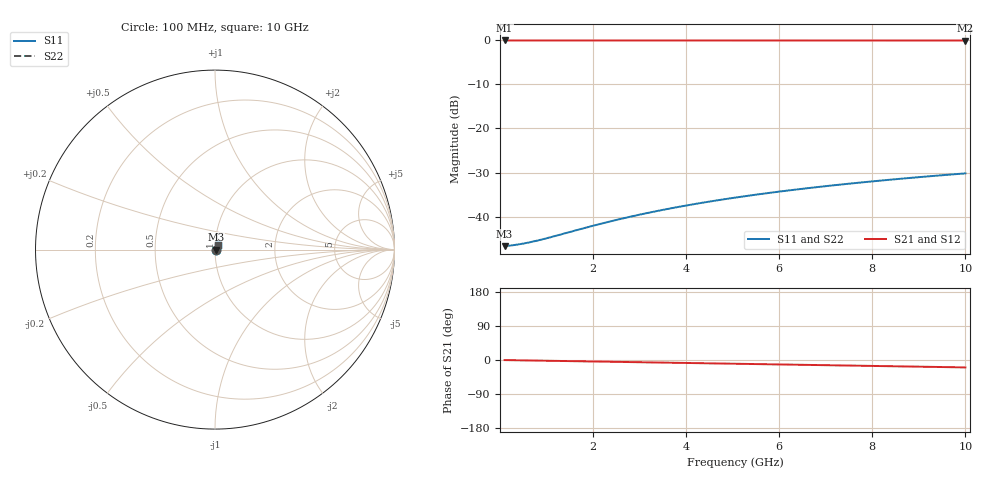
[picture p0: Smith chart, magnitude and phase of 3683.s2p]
# Hz S RI R 50.00
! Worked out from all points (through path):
!   100 points, 100 MHz to 10 GHz, reference 50 ohm
!   highest |S21| = -0.04 dB at 100 MHz (marker M1); lowest = -0.1 dB at 10 GHz (marker M2)
!   group delay of S21, straight-line fit = 5.43 ps
!   lowest |S11| = -46.7 dB at 100 MHz (marker M3), VSWR 1.01, Z = 50.5 + j0.03 ohm
!   |S11| at or under -10 dB: start of sweep to end of sweep
!   |S22| runs from -46.7 to -30.2 dB; largest |S21 - S12| = 0
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1e8  0.00462 0.000297  0.9954 -0.0034  0.9954 -0.0034  0.00462 0.000297
3e8  0.00468 0.00089  0.9953 -0.0102  0.9953 -0.0102  0.00468 0.00089
4e8  0.0047 0.00119  0.9952 -0.0136  0.9952 -0.0136  0.0047 0.00119
5e8  0.00473 0.00148  0.9951 -0.017  0.9951 -0.017  0.00473 0.00148
7e8  0.00478 0.00207  0.995 -0.0238  0.995 -0.0238  0.00478 0.00207
9e8  0.00483 0.00267  0.9948 -0.0306  0.9948 -0.0306  0.00483 0.00267
1.1e9  0.00489 0.00326  0.9945 -0.0373  0.9945 -0.0373  0.00489 0.00326
1.8e9  0.00514 0.00532  0.9932 -0.0611  0.9932 -0.0611  0.00514 0.00532
2.2e9  0.00532 0.00649  0.9923 -0.0746  0.9923 -0.0746  0.00532 0.00649
2.6e9  0.00554 0.00765  0.9911 -0.0882  0.9911 -0.0882  0.00554 0.00765
3e9  0.00578 0.00881  0.9898 -0.1017  0.9898 -0.1017  0.00578 0.00881
3.4e9  0.00606 0.00996  0.9883 -0.1152  0.9883 -0.1152  0.00606 0.00996
3.8e9  0.00637 0.0111  0.9866 -0.1286  0.9866 -0.1286  0.00637 0.0111
4.2e9  0.00671 0.0122  0.9847 -0.1421  0.9847 -0.1421  0.00671 0.0122
4.6e9  0.00708 0.0134  0.9826 -0.1555  0.9826 -0.1555  0.00708 0.0134
5.1e9  0.00758 0.0147  0.9798 -0.1723  0.9798 -0.1723  0.00758 0.0147
5.9e9  0.00849 0.0169  0.9746 -0.1989  0.9746 -0.1989  0.00849 0.0169
6.7e9  0.00951 0.0191  0.9687 -0.2255  0.9687 -0.2255  0.00951 0.0191
7.5e9  0.0107 0.0211  0.9621 -0.2518  0.9621 -0.2518  0.0107 0.0211
8.4e9  0.0121 0.0234  0.9538 -0.2812  0.9538 -0.2812  0.0121 0.0234
9.2e9  0.0134 0.0253  0.9456 -0.3072  0.9456 -0.3072  0.0134 0.0253
1e10  0.0149 0.0271  0.9368 -0.3329  0.9368 -0.3329  0.0149 0.0271
